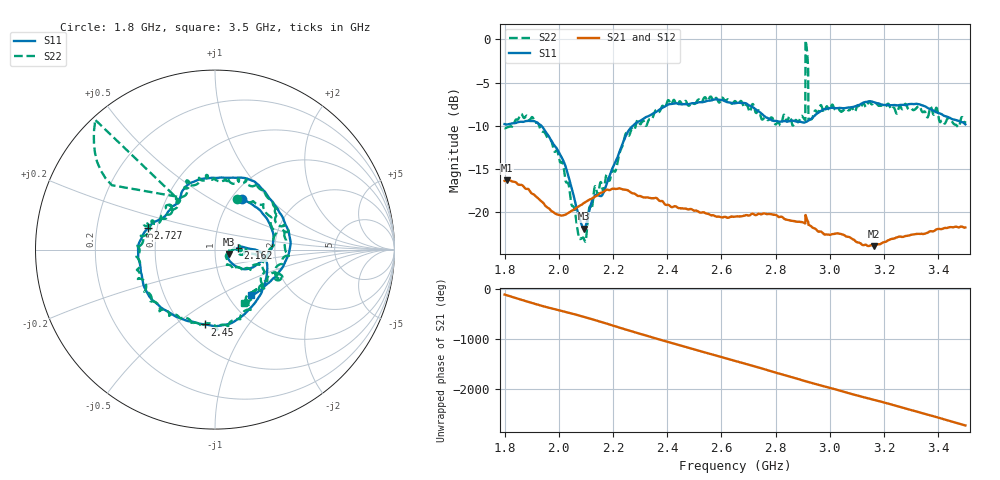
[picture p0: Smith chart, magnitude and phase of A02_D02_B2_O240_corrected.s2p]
! Created with skrf 1.9.0 (http://scikit-rf.org).
# Hz S RI R 50.0
!freq ReS11 ImS11 ReS21 ImS21 ReS12 ImS12 ReS22 ImS22
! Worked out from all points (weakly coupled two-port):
!   1601 points, 1.8 GHz to 3.5 GHz, reference 50 ohm
!   highest |S21| = -16.34 dB at 1.808 GHz (marker M1); lowest = -24.0 dB at 3.163 GHz (marker M2)
!   lowest |S11| = -22.0 dB at 2.093 GHz (marker M3), VSWR 1.17, Z = 58.1 - j3.03 ohm
!   |S11| at or under -10 dB: 1.935 GHz to 2.274 GHz (338.6 MHz wide, 16.1 % of centre)
!   |S22| runs from -23.5 to -0.1 dB; largest |S21 - S12| = 0.0025
!   S11 on the Smith chart (normalised r, x): 1.8 GHz: 1.12, +0.71; 2.162 GHz: 1.29, +0.02; 2.45 GHz: 0.64, -0.65; 2.727 GHz: 0.44, +0.12; 3.5 GHz: 1.27, -0.72
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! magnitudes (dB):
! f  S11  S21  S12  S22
! 1.8 GHz  -9.8  -16.4  -16.4  -10.3
! 1.808 GHz  -9.9  -16.3  -16.4  -10.2
! 1.902 GHz  -9.5  -17.9  -17.8  -9.0
! 1.969 GHz  -11.5  -19.8  -19.8  -11.7
! 2.022 GHz  -14.5  -20.3  -20.3  -15.8
! 2.084 GHz  -21.5  -19.2  -19.1  -23.0
! 2.093 GHz  -22.0  -19.0  -19.0  -23.1
! 2.131 GHz  -18.2  -18.3  -18.3  -17.2
! 2.162 GHz  -17.9  -17.7  -17.6  -17.5
! 2.259 GHz  -10.5  -17.6  -17.6  -11.2
! 2.367 GHz  -8.2  -18.6  -18.6  -8.4
! 2.45 GHz  -7.5  -19.6  -19.6  -7.3
! 2.65 GHz  -7.4  -20.5  -20.5  -7.1
! 2.727 GHz  -8.1  -20.4  -20.4  -8.5
! 2.884 GHz  -9.5  -21.1  -21.1  -9.6
! 2.901 GHz  -9.6  -21.2  -21.2  -9.0
! 2.911 GHz  -9.6  -20.5  -20.4  -0.3
! 2.919 GHz  -9.4  -21.1  -21.1  -2.8
! 2.934 GHz  -9.2  -21.8  -21.7  -9.2
! 3.163 GHz  -7.3  -24.0  -23.9  -7.2
! 3.217 GHz  -7.6  -23.3  -23.2  -7.5
! 3.5 GHz  -9.8  -21.8  -21.8  -9.5
